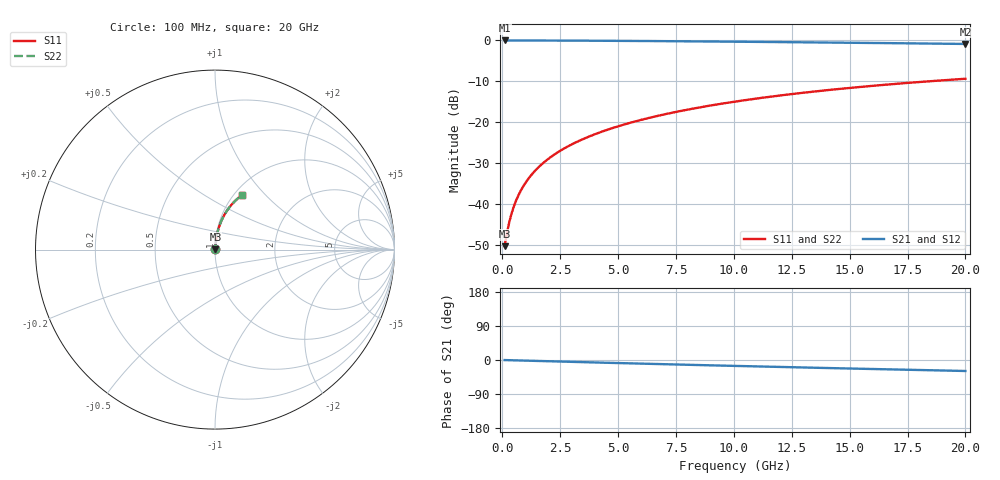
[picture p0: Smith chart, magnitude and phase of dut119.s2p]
! Touchstone file exported from HFSS 2024.1.0
!  File:  C:/UserFiles/LocalFiles/RDL_TSV_Batchsim/temp_RDL_bottom_119_1778695970.aedt
!  Generated:  02:15:06 AM May 14, 2026
!  Design:  RDL_bottom
!  Project:  temp_RDL_bottom_119_1778695970
!  Setup:  Setup1
!  Solution:  Sweep
! Variables:
!  dtsv = 10.80580581um
!  hbump = 3um
!  htsv = 55.53um
!  ldown = 367.87um
!  lrdl = 100um
!  p = 40
!  p1 = 45.51um
!  rhole = 1um
!  t = 450um
!  tdown = 4.3um
!  trdl = 3.915915916um
!  wdown = 12.97um
!  wrdl = 20um
# GHz S MA R 50.000000
! Terminal data exported
! Port[1] = RDL1_T1
! Port[2] = RDL1_T2
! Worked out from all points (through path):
!   200 points, 100 MHz to 20 GHz, reference 50 ohm
!   highest |S21| = -0.02 dB at 100 MHz (marker M1); lowest = -0.9 dB at 20 GHz (marker M2)
!   group delay of S21, straight-line fit = 4.01 ps
!   lowest |S11| = -50.3 dB at 100 MHz (marker M3), VSWR 1.01, Z = 50.2 + j0.187 ohm
!   |S11| at or under -10 dB: start of sweep to 18.42 GHz
!   |S22| runs from -50.3 to -9.4 dB; largest |S21 - S12| = 3.4e-15
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0.1  0.003064 37.4  0.9976 -0.2  0.9976 -0.2  0.003064 37.4
! Gamma 0 0 0 0
! Port Impedance 50 0 50 0
0.2  0.004423 55.7  0.9975 -0.3  0.9975 -0.3  0.004423 55.7
0.3  0.005999 65.0  0.9974 -0.5  0.9974 -0.5  0.005999 65.0
0.4  0.007668 70.3  0.9973 -0.7  0.9973 -0.7  0.007668 70.3
0.5  0.009383 73.7  0.9972 -0.8  0.9972 -0.8  0.009383 73.7
0.6  0.01112 76.0  0.9972 -1.0  0.9972 -1.0  0.01112 76.0
0.8  0.01464 78.9  0.997 -1.3  0.997 -1.3  0.01464 78.9
1.1  0.01995 81.1  0.9967 -1.8  0.9967 -1.8  0.01995 81.1
1.5  0.02705 82.5  0.9962 -2.5  0.9962 -2.5  0.02705 82.5
1.8  0.03237 83.0  0.9957 -3.0  0.9957 -3.0  0.03237 83.0
2.1  0.03769 83.3  0.9952 -3.5  0.9952 -3.5  0.03769 83.3
2.7  0.04833 83.4  0.9939 -4.4  0.9939 -4.4  0.04833 83.4
3.5  0.06252 83.2  0.9918 -5.7  0.9918 -5.7  0.06252 83.2
4.2  0.07496 82.8  0.9896 -6.8  0.9896 -6.8  0.07496 82.8
5  0.08918 82.1  0.9868 -8.1  0.9868 -8.1  0.08918 82.1
5.9  0.1052 81.3  0.9832 -9.5  0.9832 -9.5  0.1052 81.3
6.8  0.1212 80.3  0.9793 -10.8  0.9793 -10.8  0.1212 80.3
8.3  0.1478 78.6  0.9724 -13.1  0.9724 -13.1  0.1478 78.6
10.1  0.1794 76.4  0.9632 -15.7  0.9632 -15.7  0.1794 76.4
13.4  0.236 72.2  0.945 -20.3  0.945 -20.3  0.236 72.2
16.7  0.2897 67.9  0.9252 -24.7  0.9252 -24.7  0.2897 67.9
20  0.3398 63.6  0.9043 -29.0  0.9043 -29.0  0.3398 63.6
